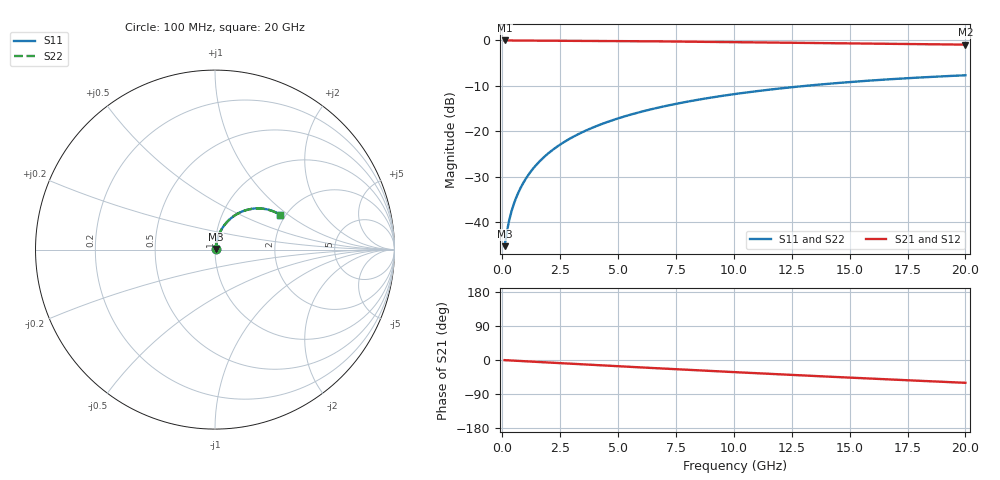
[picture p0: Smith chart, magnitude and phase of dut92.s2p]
! Touchstone file exported from HFSS 2026.1.0
!  File:  C:/ffzhzh/LocalFiles/Ansys_Project_Files/temp_train_TMRDL_92_1782881568_46784.aedt
!  Generated:  12:54:09 PM Jul  1, 2026
!  Design:  TMRDL
!  Project:  temp_train_TMRDL_92_1782881568_46784
! Variables:
!  h_bsmrdl = 2um
!  h_ox = 20um
!  h_rdl = 5um
!  h_sub = 80um
!  h_tmrdl = 3.74um
!  h_tsv = 80um
!  h_via = 3um
!  l_bsmrdl = 300um
!  l_sub = 1384.97um
!  l_tmrdl = 984.97um
!  m_sub = 200um
!  pitch = 42.37um
!  r_tsv = 6um
!  s_tmrdl = 10um
!  w_bsmrdl = 18um
!  w_sub = 500um
!  w_tmrdl = 22.6um
!  x_tsv_center1 = 996.27um
!  x_tsv_center2 = 1314.27um
!  x_tsv_center3 = 2321.84um
!  x_tsv_center4 = 2639.84um
!  x_tsv_center5 = 3647.41um
!  x_tsv_center6 = 3965.41um
# GHz S MA R 50.000000
! Terminal data exported
! Port[1] = TM_RDL1_1_T1
! Port[2] = TM_RDL1_1_T2
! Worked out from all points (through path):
!   200 points, 100 MHz to 20 GHz, reference 50 ohm
!   highest |S21| = -0.04 dB at 100 MHz (marker M1); lowest = -1.0 dB at 20 GHz (marker M2)
!   group delay of S21, straight-line fit = 8.35 ps
!   lowest |S11| = -45.3 dB at 100 MHz (marker M3), VSWR 1.01, Z = 50.4 + j0.329 ohm
!   |S11| at or under -10 dB: start of sweep to 13.15 GHz
!   |S22| runs from -45.3 to -7.7 dB; largest |S21 - S12| = 6.1e-15
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0.1  0.005436 36.8  0.9957 -0.4  0.9957 -0.4  0.005436 36.8
! Gamma 0 0 0 0
! Port Impedance 50 0 50 0
0.2  0.007886 53.5  0.9954 -0.7  0.9954 -0.7  0.007887 53.5
0.3  0.01054 61.3  0.9951 -1.0  0.9951 -1.0  0.01054 61.3
0.4  0.01321 65.8  0.9948 -1.4  0.9948 -1.4  0.01321 65.8
0.5  0.01589 68.9  0.9946 -1.7  0.9946 -1.7  0.01589 68.9
0.6  0.01859 71.1  0.9944 -2.0  0.9944 -2.0  0.01859 71.0
0.8  0.02405 73.9  0.9941 -2.7  0.9941 -2.7  0.02405 73.9
1.1  0.03234 76.0  0.9937 -3.7  0.9937 -3.7  0.03234 76.0
1.3  0.03791 76.7  0.9934 -4.3  0.9934 -4.3  0.03791 76.7
1.6  0.04628 77.2  0.9929 -5.3  0.9929 -5.3  0.04628 77.1
2.1  0.06022 77.0  0.9918 -7.0  0.9918 -7.0  0.06022 76.9
2.7  0.07683 76.0  0.9903 -9.0  0.9903 -9.0  0.07683 76.0
3.5  0.09866 74.1  0.9877 -11.6  0.9877 -11.6  0.09866 74.1
4.2  0.1174 72.2  0.985 -13.8  0.985 -13.8  0.1174 72.2
5  0.1383 69.9  0.9815 -16.4  0.9815 -16.4  0.1383 69.9
5.9  0.1611 67.3  0.9773 -19.3  0.9773 -19.3  0.1611 67.3
6.8  0.1832 64.6  0.9726 -22.1  0.9726 -22.1  0.1832 64.6
8.3  0.2183 60.2  0.9642 -26.8  0.9642 -26.8  0.2183 60.2
10.1  0.2575 55.0  0.9535 -32.2  0.9535 -32.2  0.2575 54.9
13.4  0.3206 45.6  0.933 -41.9  0.933 -41.9  0.3206 45.5
16.7  0.3721 36.6  0.9132 -51.2  0.9132 -51.2  0.3721 36.5
20  0.4122 28.0  0.8958 -60.2  0.8958 -60.2  0.4122 27.8
